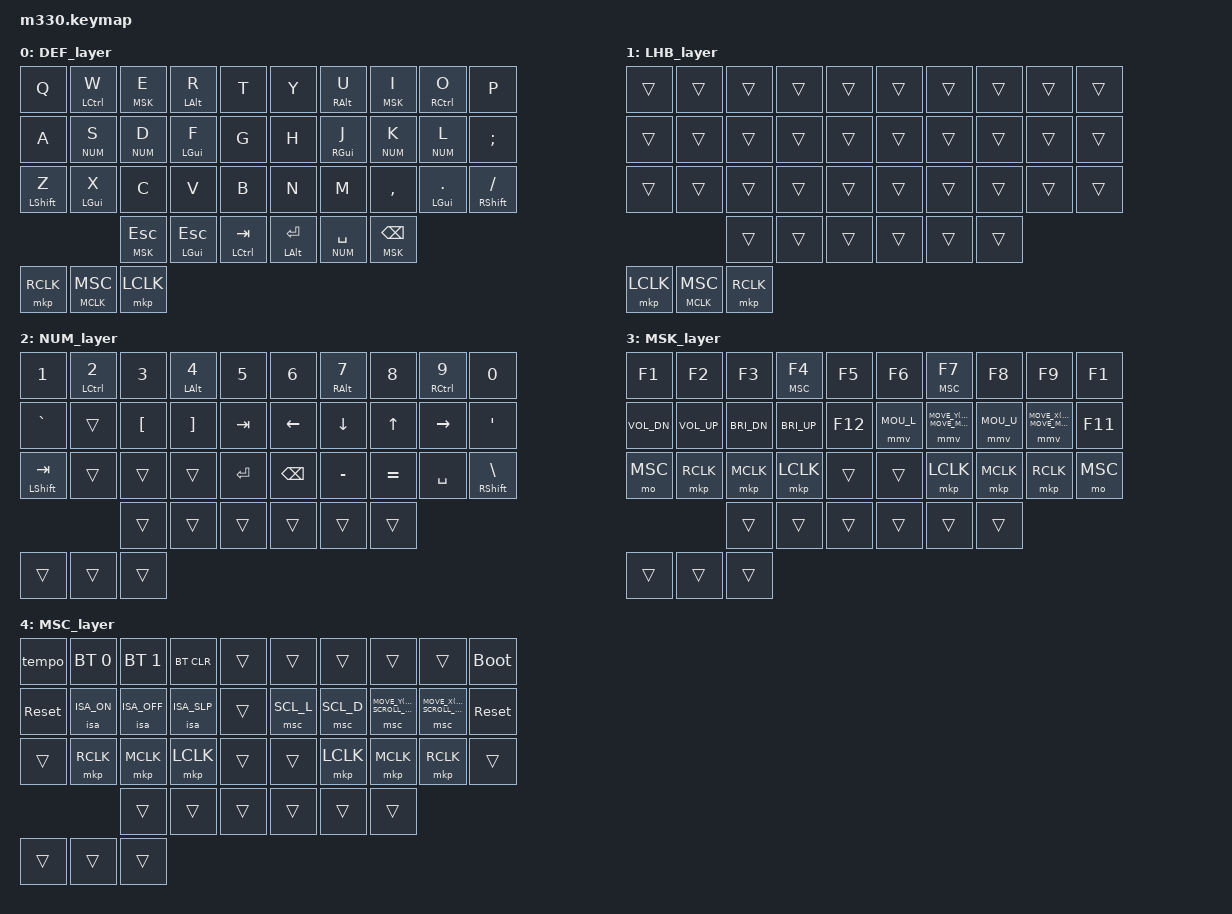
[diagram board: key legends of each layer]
/*
 * Copyright (c) 2020 The ZMK Contributors
 *
 * SPDX-License-Identifier: MIT
 */

#include <zephyr/dt-bindings/input/input-event-codes.h>

#include <behaviors.dtsi>
#include <behaviors/mouse_keys.dtsi>
#include <behaviors/mouse_key_press.dtsi>
#include <behaviors/mouse_key_toggle.dtsi>
#include <dt-bindings/zmk/keys.h>
#include <dt-bindings/zmk/bt.h>
#include <dt-bindings/zmk/rgb.h>
#include <dt-bindings/zmk/ext_power.h>
#include <dt-bindings/zmk/outputs.h>
#include <dt-bindings/zmk/mouse.h>
#include <dt-bindings/zmk/input_transform.h>

#include <behaviors/insomnia.dtsi>
#include <dt-bindings/zmk/insomnia.h>

#define DEF 0
#define LHB 1
#define NUM 2
#define MSK 3
#define MSC 4

#ifndef MOVE_Y
#define MOVE_Y(n) (0)
#endif
#ifndef MOVE_X
#define MOVE_X(n) (0)
#endif

#define U_MOUSE_MOVE_MAX 1700
#define MOU_U MOVE_Y(-U_MOUSE_MOVE_MAX)
#define MOU_D MOVE_Y(U_MOUSE_MOVE_MAX)
#define MOU_L MOVE_X(-U_MOUSE_MOVE_MAX)
#define MOU_R MOVE_X(U_MOUSE_MOVE_MAX)

#define U_MOUSE_SCROLL_MAX 20
#define SCL_U MOVE_Y(U_MOUSE_SCROLL_MAX)
#define SCL_D MOVE_Y(-U_MOUSE_SCROLL_MAX)
#define SCL_L MOVE_X(-U_MOUSE_SCROLL_MAX)
#define SCL_R MOVE_X(U_MOUSE_SCROLL_MAX)

/ {

        behaviors {
                hm_l: homerow_mods_left {
                        compatible = "zmk,behavior-hold-tap"; #binding-cells = <2>;
                        tapping-term-ms = <200>; quick-tap-ms = <200>;
                        flavor = "tap-preferred"; bindings = <&kp>, <&kp>;
                };
                hm_r: homerow_mods_right {
                        compatible = "zmk,behavior-hold-tap"; #binding-cells = <2>;
                        tapping-term-ms = <200>; quick-tap-ms = <200>;
                        flavor = "tap-preferred"; bindings = <&kp>, <&kp>;
                };
                hl_l: homerow_layers_left {
                        compatible = "zmk,behavior-hold-tap"; #binding-cells = <2>;
                        tapping-term-ms = <200>; quick-tap-ms = <200>;
                        flavor = "tap-preferred"; bindings = <&mo>, <&kp>;
                };
                hl_r: homerow_layers_right {
                        compatible = "zmk,behavior-hold-tap"; #binding-cells = <2>;
                        tapping-term-ms = <200>; quick-tap-ms = <200>;
                        flavor = "tap-preferred"; bindings = <&mo>, <&kp>;
                };
                hmkp_tg: hold_mouse_key_press_tap_toggle {
                        compatible = "zmk,behavior-hold-tap"; #binding-cells = <2>;
                        tapping-term-ms = <200>; quick-tap-ms = <200>;
                        flavor = "tap-preferred"; bindings = <&mkp>, <&tog>;
                };
        };

        tempo: key_tempo {
                compatible = "zmk,behavior-key-tempo";
                #binding-cells = <0>;
                usage-pages = <HID_USAGE_KEY HID_USAGE_CONSUMER>;
        };

        keymap {
                compatible = "zmk,keymap";
                DEF_layer {
// +------------------------------------------------------+     +--------------------------------------------------------+
// |     Q    |  LCTRL:W |  _MSK:E  |  LALT:R  |     T    |     |     Y     |  RALT:U  |  _MSK:I   |  RCTRL:O |     P    |
// |     A    |  _NUM:S  |  _NUM:D  |  LGUI:F  |     G    |     |     H     |  RGUI:J  |  _NUM:K   |  _NUM:L  |     ;:   |
// |  SHFT Z  |  LGUI:X  |     C    |     V    |     B    |     |     N     |     M    |    ,<     |  LGUI:.> |  SHFT /? |
//                       | ^MSK:ESC |  GUI:ESC | CTRL:TAB |     |  ALT:ENT  | _NUM:SPC | ^MSK:BKSP |
                        bindings = <
   &kp Q          &hm_l LCTRL W   &hl_l MSK E    &hm_l LALT R    &kp T               &kp Y           &hm_r RALT U     &hl_r MSK I     &hm_r RCTRL O   &kp P
   &kp A          &hl_l NUM S     &hl_l NUM D    &hm_l LGUI F    &kp G               &kp H           &hm_r RGUI J     &hl_r NUM K     &hl_r NUM L     &kp SEMI
   &mt LSHFT Z    &hm_l LGUI X    &kp C          &kp V           &kp B               &kp N           &kp M            &kp COMMA       &hm_r LGUI DOT  &mt RSHFT FSLH
                                  &lt MSK ESC    &mt LGUI ESC    &mt LCTRL TAB       &mt LALT RET    &lt NUM SPACE    &lt MSK BKSP
   &mkp RCLK   &hmkp_tg MCLK MSC   &mkp LCLK
                        >;
                };
                LHB_layer {
                        bindings = <
   &trans  &trans  &trans  &trans  &trans    &trans  &trans  &trans  &trans  &trans
   &trans  &trans  &trans  &trans  &trans    &trans  &trans  &trans  &trans  &trans
   &trans  &trans  &trans  &trans  &trans    &trans  &trans  &trans  &trans  &trans
                   &trans  &trans  &trans    &trans  &trans  &trans
   &mkp LCLK   &hmkp_tg MCLK MSC   &mkp RCLK
                        >;
                        // sensor-bindings = <&rot_enc>;
                };
                NUM_layer {
// +------------------------------------------------------+     +-------------------------------------------------------+
// |    1!    | LCTRL:2@  |    3#    | LALT:4$  |    5%   |     |    6^    |  RALT:7& |    8&    |  RCTRL 9( |    0)    |
// |    `~    |           |    {[    |    ]}    |   TAB   |     |    LFT   |   DWN    |    UP    |    RGT    |    '"    |
// | SHFT TAB |           |          |          |   RET   |     |   BKSP   |    -_    |    =+    |    SPC    |  SHFT \| |
//                        |          |          |         |     |          |    (H)   |          |
                        bindings = <
   &kp N1             &hm_l LCTRL N2   &kp N3     &hm_l LALT N4   &kp N5              &kp N6      &hm_r RALT N7   &kp N8      &hm_r RCTRL N9   &kp N0
   &kp GRAVE          &trans           &kp LBKT   &kp RBKT        &kp TAB             &kp LEFT    &kp DOWN        &kp UP      &kp RIGHT        &kp SQT
   &mt LSHFT TAB      &trans           &trans     &trans          &kp RET             &kp BKSP    &kp MINUS       &kp EQUAL   &kp SPACE        &mt RSHFT BSLH
                                       &trans     &trans          &trans              &trans      &trans          &trans
   &trans   &trans   &trans
                        >;
                };
                MSK_layer {
// +------------------------------------------------------+     +------------------------------------------------------+
// |    F1    |    F2    |  (H) F3  |  _MSC:F4 |    F5    |     |    F6    |  _MSC:F7 |  (H) F8  |    F9    |   F10    |
// |   VOLD   |   VOLU   |   BRID   |   BRIU   |   F12    |     |   MLFT   |   MDWN   |    MUP   |   MRGT   |   F11    |
// |   _MSC   |   RCLK   |   MCLK   |   LCLK   |          |     |          |   LCLK   |   MCLK   |   RCLK   |  _MSC    |
//                       |   (H)    |          |          |     |          |          |    (H)   |
                        bindings = <
   &kp F1        &kp F2        &kp F3        &lt MSC F4    &kp F5            &kp F6      &lt MSC F7  &kp F8      &kp F9      &kp F1
   &kp C_VOL_DN  &kp C_VOL_UP  &kp C_BRI_DN  &kp C_BRI_UP  &kp F12           &mmv MOU_L  &mmv MOU_D  &mmv MOU_U  &mmv MOU_R  &kp F11
   &mo MSC       &mkp RCLK     &mkp MCLK     &mkp LCLK     &trans            &trans      &mkp LCLK   &mkp MCLK   &mkp RCLK   &mo MSC
                               &trans        &trans        &trans            &trans      &trans      &trans
   &trans   &trans   &trans
                        >;
                };
                MSC_layer {
// +------------------------------------------------------+     +------------------------------------------------------+
// |   TEMPO  |   BT_0   | (H) BT_1 | (H) BT_C |          |     |          |    (H)   |    (H)   |          |    DFU   |
// |   RESET  |  ISA_ON  |  ISA_OFF |  ISA_SLP |          |     |   SLFT   |   SDWN   |    SUP   |   SRGT   |   RESET  |
// |    (H)   |   RCLK   |   MCLK   |   LCLK   |          |     |          |   LCLK   |   MCLK   |   RCLK   |    (H)   |
//                       |   (H)    |          |          |     |          |          |    (H)   |
                        bindings = <
   &tempo      &bt BT_SEL 0  &bt BT_SEL 1  &bt BT_CLR    &trans            &trans       &trans        &trans      &trans        &bootloader
   &sys_reset  &isa ISA_ON   &isa ISA_OFF  &isa ISA_SLP  &trans            &msc SCL_L   &msc SCL_D    &msc SCL_U  &msc SCL_R    &sys_reset
   &trans      &mkp RCLK     &mkp MCLK     &mkp LCLK     &trans            &trans       &mkp LCLK     &mkp MCLK   &mkp RCLK     &trans
                             &trans        &trans        &trans            &trans       &trans        &trans
   &trans   &trans   &trans
                        >;
                };
       };
};
